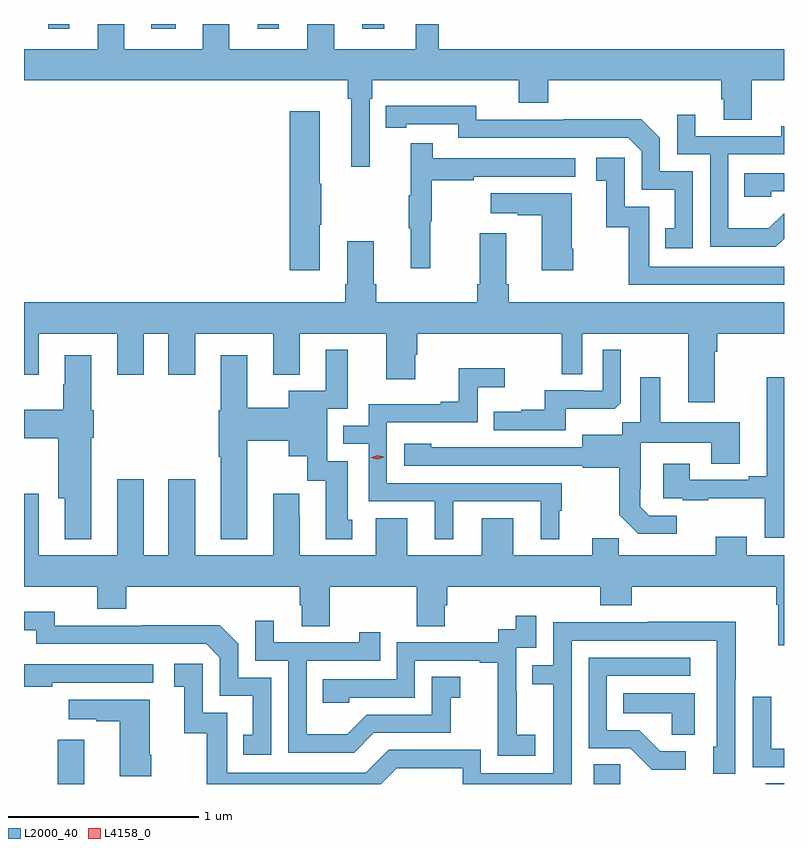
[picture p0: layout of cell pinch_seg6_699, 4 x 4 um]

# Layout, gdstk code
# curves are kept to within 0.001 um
import gdstk
lib = gdstk.Library(unit=1e-6, precision=1e-09)
def R(c, l, rs):  # rectangles x0, y0, x1, y1
    for r in rs: c.add(gdstk.rectangle(r[:2], r[2:], *l))
def P(c, l, *ps):  # polygons
    for p in ps: c.add(gdstk.Polygon(p, *l))
L2000_40 = (2000, 40)
L4158_0 = (4158, 0)

pinch_seg6_699 = lib.new_cell('pinch_seg6_699')
R(pinch_seg6_699, L2000_40, [(418.097,931.645,418.237,931.879), (420.917,931.645,421.056,931.748), (421.823,931.645,421.919,931.649), (418.046,935.619,418.156,935.645), (418.589,935.619,418.717,935.645), (419.15,935.619,419.26,935.645), (419.699,935.619,419.815,935.645)])
P(pinch_seg6_699, L2000_40, [(420.103,935.645),(419.981,935.645),(419.981,935.512),(419.551,935.512),(419.551,935.645),(419.411,935.645),(419.411,935.512),(418.999,935.512),(418.999,935.645),(418.859,935.645),(418.859,935.512),(418.447,935.512),(418.447,935.645),(418.307,935.645),(418.307,935.512),(417.919,935.512),(417.919,935.348),(419.623,935.348),(419.623,935.252),(419.642,935.252),(419.642,934.893),(419.739,934.893),(419.739,935.252),(419.753,935.252),(419.753,935.348),(420.524,935.348),(420.524,935.231),(420.677,935.231),(420.677,935.348),(421.589,935.348),(421.589,935.25),(421.601,935.25),(421.601,935.14),(421.749,935.14),(421.749,935.348),(421.919,935.348),(421.919,935.512),(420.103,935.512)],
  [(421.44,934.869),(421.266,934.869),(421.266,935.046),(421.168,935.144),(420.76,935.144),(420.76,935.142),(420.3,935.142),(420.3,935.215),(419.824,935.214),(419.824,935.098),(419.932,935.098),(419.932,935.118),(420.204,935.118),(420.204,935.046),(421.098,935.046),(421.17,934.974),(421.17,934.773),(421.343,934.773),(421.343,934.569),(421.294,934.569),(421.294,934.464),(421.44,934.464)],
  [(419.476,934.588),(419.484,934.588),(419.484,934.805),(419.476,934.805),(419.476,935.185),(419.318,935.185),(419.318,934.35),(419.476,934.35)],
  [(421.919,934.516),(421.919,934.649),(421.84,934.57),(421.626,934.57),(421.626,934.959),(421.919,934.959),(421.919,935.107),(421.904,935.107),(421.904,935.055),(421.453,935.055),(421.453,935.167),(421.356,935.167),(421.356,934.959),(421.53,934.959),(421.53,934.473),(421.876,934.473)],
  [(420.056,934.608),(420.064,934.608),(420.064,934.822),(420.287,934.822),(420.287,934.842),(420.82,934.842),(420.82,934.938),(420.071,934.938),(420.071,935.017),(419.954,935.017),(419.954,934.745),(419.943,934.745),(419.943,934.571),(419.954,934.571),(419.954,934.359),(420.056,934.359)],
  [(421.919,934.368),(421.209,934.368),(421.209,934.683),(421.08,934.683),(421.08,934.942),(420.93,934.942),(420.93,934.821),(420.983,934.821),(420.983,934.575),(421.101,934.575),(421.101,934.272),(421.919,934.272)],
  [(421.851,934.764),(421.919,934.764),(421.919,934.86),(421.711,934.86),(421.711,934.737),(421.851,934.737)],
  [(420.81,934.462),(420.802,934.462),(420.802,934.753),(420.375,934.753),(420.375,934.649),(420.518,934.649),(420.518,934.639),(420.644,934.639),(420.644,934.35),(420.81,934.35)],
  [(421.555,933.92),(421.568,933.92),(421.568,934.016),(421.919,934.016),(421.919,934.18),(420.47,934.18),(420.47,934.276),(420.457,934.276),(420.457,934.543),(420.317,934.543),(420.317,934.276),(420.305,934.276),(420.305,934.18),(419.774,934.18),(419.774,934.276),(419.761,934.276),(419.761,934.501),(419.621,934.501),(419.621,934.276),(419.609,934.276),(419.609,934.18),(417.919,934.18),(417.919,933.798),(417.997,933.798),(417.997,934.016),(418.409,934.016),(418.409,933.798),(418.549,933.798),(418.549,934.016),(418.679,934.016),(418.679,933.798),(418.819,933.798),(418.819,934.016),(419.231,934.016),(419.231,933.8),(419.371,933.8),(419.371,934.016),(419.825,934.016),(419.825,933.774),(419.977,933.774),(419.977,933.903),(419.99,933.903),(419.99,934.016),(420.75,934.016),(420.75,933.802),(420.858,933.802),(420.858,934.016),(421.415,934.016),(421.415,933.654),(421.555,933.654)],
  [(419.095,933.452),(419.312,933.452),(419.312,933.371),(419.411,933.371),(419.411,933.24),(419.507,933.24),(419.507,932.934),(419.647,932.934),(419.647,933.036),(419.623,933.036),(419.623,933.345),(419.514,933.345),(419.514,933.621),(419.623,933.621),(419.623,933.931),(419.507,933.931),(419.507,933.715),(419.312,933.715),(419.312,933.624),(419.095,933.624),(419.095,933.901),(418.955,933.901),(418.955,933.612),(418.943,933.612),(418.943,933.368),(418.955,933.368),(418.955,932.933),(419.095,932.933)],
  [(420.769,933.62),(421.027,933.62),(421.059,933.651),(421.059,933.931),(420.966,933.931),(420.966,933.714),(420.866,933.714),(420.866,933.717),(420.659,933.717),(420.659,933.616),(420.535,933.616),(420.535,933.604),(420.391,933.604),(420.391,933.507),(420.769,933.507)],
  [(418.273,933.468),(418.286,933.468),(418.286,933.612),(418.273,933.612),(418.273,933.901),(418.133,933.901),(418.133,933.75),(418.126,933.75),(418.126,933.616),(417.919,933.616),(417.919,933.464),(418.1,933.464),(418.1,933.149),(418.133,933.149),(418.133,932.933),(418.273,932.933)],
  [(420.178,933.132),(420.638,933.132),(420.638,932.933),(420.736,932.933),(420.736,933.084),(420.748,933.084),(420.748,933.228),(419.829,933.228),(419.829,933.549),(420.306,933.549),(420.306,933.734),(420.448,933.734),(420.448,933.833),(420.208,933.833),(420.208,933.658),(420.113,933.658),(420.113,933.645),(419.733,933.645),(419.733,933.531),(419.6,933.531),(419.6,933.435),(419.733,933.435),(419.733,933.132),(420.08,933.132),(420.08,932.933),(420.178,932.933)],
  [(421.919,933.787),(421.829,933.787),(421.829,933.265),(421.733,933.265),(421.733,933.246),(421.423,933.246),(421.423,933.331),(421.283,933.331),(421.283,933.15),(421.387,933.15),(421.387,933.138),(421.519,933.138),(421.519,933.149),(421.818,933.149),(421.818,932.94),(421.919,932.94)],
  [(421.354,933.057),(421.209,933.057),(421.162,933.104),(421.162,933.199),(421.164,933.199),(421.164,933.44),(421.535,933.44),(421.535,933.331),(421.687,933.331),(421.687,933.55),(421.267,933.55),(421.267,933.787),(421.163,933.787),(421.163,933.548),(421.068,933.548),(421.068,933.484),(420.857,933.484),(420.857,933.417),(420.063,933.418),(420.063,933.436),(419.919,933.436),(419.919,933.321),(420.861,933.321),(420.861,933.309),(421.053,933.309),(421.053,933.063),(421.153,932.963),(421.354,932.963)],
  [(417.919,933.172),(417.919,932.684),(418.304,932.684),(418.304,932.567),(418.457,932.567),(418.457,932.684),(419.369,932.684),(419.369,932.586),(419.381,932.586),(419.381,932.476),(419.529,932.476),(419.529,932.684),(419.986,932.684),(419.986,932.476),(420.133,932.476),(420.133,932.586),(420.146,932.586),(420.146,932.684),(420.953,932.684),(420.953,932.585),(421.118,932.585),(421.118,932.684),(421.877,932.684),(421.877,932.588),(421.889,932.588),(421.889,932.375),(421.919,932.375),(421.919,932.848),(421.723,932.848),(421.723,932.947),(421.559,932.947),(421.559,932.848),(421.049,932.848),(421.049,932.939),(420.911,932.939),(420.911,932.848),(420.493,932.848),(420.493,933.043),(420.329,933.043),(420.329,932.848),(419.935,932.848),(419.935,933.043),(419.771,933.043),(419.771,932.848),(419.371,932.848),(419.371,933.059),(419.368,933.059),(419.368,933.172),(419.231,933.172),(419.231,932.848),(418.819,932.848),(418.819,933.25),(418.679,933.25),(418.679,932.848),(418.549,932.848),(418.549,933.25),(418.409,933.25),(418.409,932.848),(417.997,932.848),(417.997,933.172)],
  [(419.22,932.205),(419.046,932.205),(419.046,932.382),(418.948,932.48),(418.54,932.48),(418.54,932.478),(418.08,932.478),(418.08,932.551),(417.919,932.551),(417.919,932.454),(417.984,932.454),(417.984,932.382),(418.878,932.382),(418.95,932.31),(418.95,932.109),(419.123,932.109),(419.123,931.905),(419.074,931.905),(419.074,931.8),(419.22,931.8)],
  [(420.61,931.903),(420.512,931.903),(420.512,932.132),(420.51,932.132),(420.51,932.361),(420.615,932.361),(420.615,932.53),(420.507,932.53),(420.507,932.46),(420.414,932.46),(420.414,932.391),(419.88,932.391),(419.88,932.196),(419.491,932.196),(419.491,932.073),(419.631,932.073),(419.631,932.1),(419.976,932.1),(419.976,932.295),(420.317,932.295),(420.317,932.283),(420.413,932.283),(420.413,931.999),(420.412,931.999),(420.412,931.793),(420.61,931.793)],
  [(419.761,931.914),(420.165,931.914),(420.165,932.099),(420.214,932.099),(420.214,932.209),(420.066,932.209),(420.066,932.01),(419.724,932.01),(419.62,931.906),(419.406,931.906),(419.406,932.295),(419.795,932.295),(419.795,932.443),(419.684,932.443),(419.684,932.391),(419.233,932.391),(419.233,932.503),(419.136,932.503),(419.136,932.295),(419.31,932.295),(419.31,931.809),(419.656,931.809)],
  [(419.88,931.728),(420.227,931.728),(420.227,931.645),(420.801,931.645),(420.801,932.4),(421.566,932.4),(421.566,931.842),(421.547,931.842),(421.547,931.698),(421.662,931.698),(421.662,932.191),(421.665,932.191),(421.665,932.498),(421.201,932.498),(421.201,932.496),(420.705,932.496),(420.705,932.271),(420.595,932.271),(420.595,932.17),(420.705,932.17),(420.705,931.701),(420.324,931.701),(420.324,931.824),(419.838,931.824),(419.718,931.704),(418.989,931.704),(418.989,932.019),(418.86,932.019),(418.86,932.278),(418.71,932.278),(418.71,932.157),(418.763,932.157),(418.763,931.911),(418.881,931.911),(418.881,931.645),(419.797,931.645)],
  [(421.402,931.818),(421.267,931.818),(421.156,931.929),(420.987,931.929),(420.987,932.214),(421.426,932.214),(421.426,932.31),(420.891,932.31),(420.891,931.833),(421.11,931.833),(421.223,931.721),(421.402,931.721)],
  [(418.067,932.178),(418.6,932.178),(418.6,932.274),(417.919,932.274),(417.919,932.158),(418.067,932.158)],
  [(421.45,932.122),(421.072,932.122),(421.072,932.018),(421.329,932.018),(421.329,931.903),(421.45,931.903)],
  [(421.919,931.83),(421.851,931.83),(421.851,932.104),(421.755,932.104),(421.755,931.734),(421.919,931.734)],
  [(418.59,931.798),(418.582,931.798),(418.582,932.089),(418.155,932.089),(418.155,931.985),(418.298,931.985),(418.298,931.975),(418.424,931.975),(418.424,931.686),(418.59,931.686)])
P(pinch_seg6_699, L4158_0, [(419.78,933.354),(419.745,933.361),(419.744,933.361),(419.745,933.362),(419.778,933.374),(419.813,933.367),(419.814,933.367),(419.813,933.366)])

lib.write_gds('pinch_seg6_699.gds')
